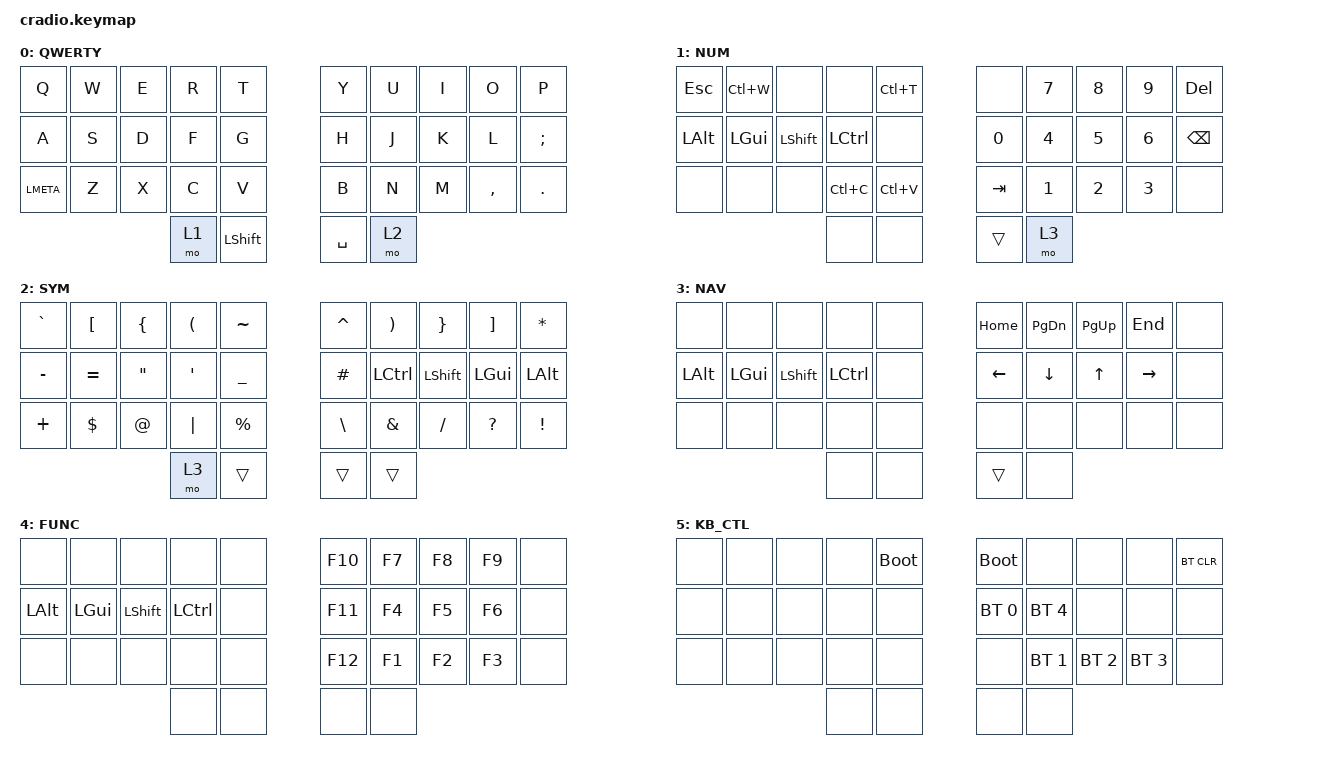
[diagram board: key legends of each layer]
#include <behaviors.dtsi>
#include <dt-bindings/zmk/bt.h>
#include <dt-bindings/zmk/keys.h>

/ {
    combos {
        compatible = "zmk,combos";

        FUNC_COMBO {
            bindings = <&mo 4>;
            key-positions = <30 31>;
        };

        ESC_COMBO {
            bindings = <&kp ESC>;
            key-positions = <10 19>;
        };

        ENTER_COMBO {
            bindings = <&kp ENTER>;
            key-positions = <13 16>;
        };

        ENTER_RIGHT_COMBO {
            bindings = <&kp ENTER>;
            key-positions = <15 16 17>;
        };

        ENTER_LEFT_COMBO {
            bindings = <&kp ENTER>;
            key-positions = <14 13 12>;
        };

        KB_CTRL_COMBO {
            bindings = <&mo 5>;
            key-positions = <10 30 19 33>;
        };
    };

    keymap {
        compatible = "zmk,keymap";

        QWERTY {
            bindings = <
&kp Q      &kp W  &kp E  &kp R  &kp T         &kp Y      &kp U  &kp I  &kp O      &kp P
&kp A      &kp S  &kp D  &kp F  &kp G         &kp H      &kp J  &kp K  &kp L      &kp SEMICOLON
&kp LMETA  &kp Z  &kp X  &kp C  &kp V         &kp B      &kp N  &kp M  &kp COMMA  &kp DOT
                         &mo 1  &kp LSHIFT    &kp SPACE  &mo 2
            >;
        };

        NUM {
            bindings = <
&kp ESC   &kp LC(W)  &none       &none      &kp LC(T)    &none    &kp N7  &kp N8  &kp N9  &kp DEL
&kp LALT  &kp LGUI   &kp LSHIFT  &kp LCTRL  &none        &kp N0   &kp N4  &kp N5  &kp N6  &kp BACKSPACE
&none     &none      &none       &kp LC(C)  &kp LC(V)    &kp TAB  &kp N1  &kp N2  &kp N3  &none
                                 &none      &none        &trans   &mo 3
            >;
        };

        SYM {
            bindings = <
&kp GRAVE  &kp LBKT   &kp LBRC  &kp LPAR  &kp TILDE    &kp CARET      &kp RPAR   &kp RBRC    &kp RBKT   &kp STAR
&kp MINUS  &kp EQUAL  &kp DQT   &kp SQT   &kp UNDER    &kp HASH       &kp LCTRL  &kp LSHIFT  &kp LGUI   &kp LALT
&kp PLUS   &kp DLLR   &kp AT    &kp PIPE  &kp PRCNT    &kp BACKSLASH  &kp AMPS   &kp SLASH   &kp QMARK  &kp EXCL
                                &mo 3     &trans       &trans         &trans
            >;
        };

        NAV {
            bindings = <
&none     &none     &none       &none      &none    &kp HOME  &kp PG_DN  &kp PG_UP  &kp END    &none
&kp LALT  &kp LGUI  &kp LSHIFT  &kp LCTRL  &none    &kp LEFT  &kp DOWN   &kp UP     &kp RIGHT  &none
&none     &none     &none       &none      &none    &none     &none      &none      &none      &none
                                &none      &none    &trans    &none
            >;
        };

        FUNC {
            bindings = <
&none     &none     &none       &none      &none    &kp F10  &kp F7  &kp F8  &kp F9  &none
&kp LALT  &kp LGUI  &kp LSHIFT  &kp LCTRL  &none    &kp F11  &kp F4  &kp F5  &kp F6  &none
&none     &none     &none       &none      &none    &kp F12  &kp F1  &kp F2  &kp F3  &none
                                &none      &none    &none    &none
            >;
        };

        KB_CTL {
            bindings = <
&none  &none  &none  &none  &bootloader    &bootloader   &none         &none         &none         &bt BT_CLR
&none  &none  &none  &none  &none          &bt BT_SEL 0  &bt BT_SEL 4  &none         &none         &none
&none  &none  &none  &none  &none          &none         &bt BT_SEL 1  &bt BT_SEL 2  &bt BT_SEL 3  &none
                     &none  &none          &none         &none
            >;
        };
    };
};
